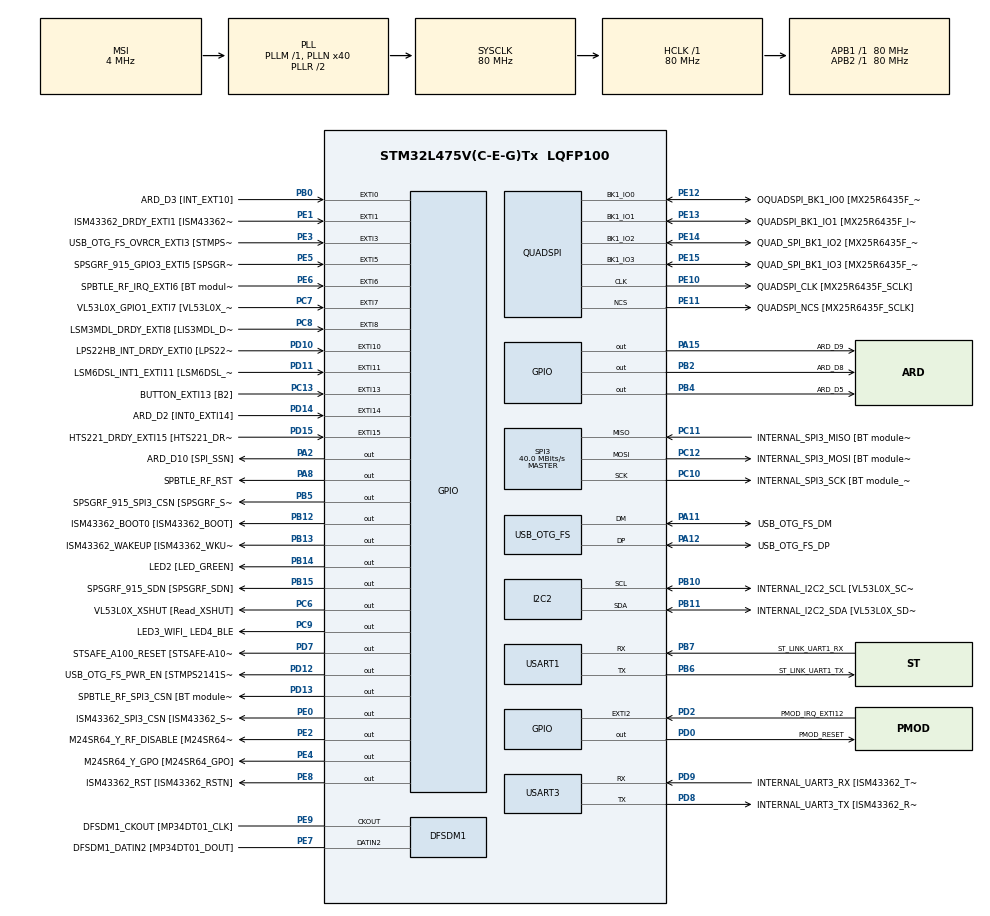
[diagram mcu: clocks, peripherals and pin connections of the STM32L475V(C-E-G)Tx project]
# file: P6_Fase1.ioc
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Mcu.Family=STM32L4
Mcu.Name=STM32L475V(C-E-G)Tx
Mcu.Package=LQFP100
NVIC.EXTI15_10_IRQn=true\:0\:0\:false\:false\:true\:true\:true
NVIC.EXTI9_5_IRQn=true\:0\:0\:false\:false\:true\:true\:true
NVIC.OTG_FS_IRQn=true\:0\:0\:false\:false\:true\:true\:true
NVIC.PriorityGroup=NVIC_PRIORITYGROUP_4
PA0.GPIO_Label=ARD_D1 [UART4_TX]
PA0.Signal=UART4_TX
PA1.GPIO_Label=ARD_D0 [UART4_RX]
PA1.Signal=UART4_RX
PA10.GPIO_Label=USB_OTG_FS_ID
PA10.Signal=USB_OTG_FS_ID
PA11.GPIO_Label=USB_OTG_FS_DM
PA11.Mode=Device_Only
PA11.Signal=USB_OTG_FS_DM
PA12.GPIO_Label=USB_OTG_FS_DP
PA12.Mode=Device_Only
PA12.Signal=USB_OTG_FS_DP
PA13\ (JTMS-SWDIO).GPIO_Label=SYS_JTMS_SWDIO
PA13\ (JTMS-SWDIO).Mode=Serial_Wire
PA13\ (JTMS-SWDIO).Signal=SYS_JTMS-SWDIO
PA14\ (JTCK-SWCLK).GPIO_Label=SYS_JTCK_SWCLK
PA14\ (JTCK-SWCLK).Mode=Serial_Wire
PA14\ (JTCK-SWCLK).Signal=SYS_JTCK-SWCLK
PA15\ (JTDI).GPIO_Label=ARD_D9
PA15\ (JTDI).Signal=GPIO_Output
PA2.GPIO_Label=ARD_D10 [SPI_SSN]
PA2.Signal=GPIO_Output
PA3.GPIO_Label=ARD_D4
PA3.Signal=S_TIM2_CH4
PA4.GPIO_Label=ARD_D7
PA4.Signal=ADCx_IN9
PA5.GPIO_Label=ARD_D13 [SPI1_SCK]
PA5.Signal=SPI1_SCK
PA6.GPIO_Label=ARD_D12 [SPI1_MISO]
PA6.Signal=SPI1_MISO
PA7.GPIO_Label=ARD_D11 [SPI1_MOSI]
PA7.Signal=SPI1_MOSI
PA8.GPIO_Label=SPBTLE_RF_RST
PA8.Signal=GPIO_Output
PA9.GPIO_Label=USB_OTG_FS_VBUS [STMPS2141STR_OUT]
PA9.Signal=USB_OTG_FS_VBUS
PB0.GPIO_Label=ARD_D3 [INT_EXT10]
PB0.Signal=GPXTI0
PB1.GPIO_Label=ARD_D6 [ADC1_IN6]
PB1.Signal=ADCx_IN16
PB10.GPIO_Label=INTERNAL_I2C2_SCL [VL53L0X_SCL]
PB10.Mode=I2C
PB10.Signal=I2C2_SCL
PB11.GPIO_Label=INTERNAL_I2C2_SDA [VL53L0X_SDA]
PB11.Mode=I2C
PB11.Signal=I2C2_SDA
PB12.GPIO_Label=ISM43362_BOOT0 [ISM43362_BOOT]
PB12.Signal=GPIO_Output
PB13.GPIO_Label=ISM43362_WAKEUP [ISM43362_WKUP]
PB13.Signal=GPIO_Output
PB14.GPIO_Label=LED2 [LED_GREEN]
PB14.Signal=GPIO_Output
PB15.GPIO_Label=SPSGRF_915_SDN [SPSGRF_SDN]
PB15.Signal=GPIO_Output
PB2.GPIO_Label=ARD_D8
PB2.Signal=GPIO_Output
PB3\ (JTDO-TRACESWO).GPIO_Label=SYS_JTD0_SWO
PB3\ (JTDO-TRACESWO).Signal=SYS_JTDO-SWO
PB4\ (NJTRST).GPIO_Label=ARD_D5
PB4\ (NJTRST).Signal=GPIO_Output
PB5.GPIO_Label=SPSGRF_915_SPI3_CSN [SPSGRF_SPI_CS]
PB5.PinState=GPIO_PIN_SET
PB5.Signal=GPIO_Output
PB6.GPIO_Label=ST_LINK_UART1_TX
PB6.Mode=Asynchronous
PB6.Signal=USART1_TX
PB7.GPIO_Label=ST_LINK_UART1_RX
PB7.Mode=Asynchronous
PB7.Signal=USART1_RX
PB8.GPIO_Label=ARD_D15 [I2C1_SCL]
PB8.Signal=I2C1_SCL
PB9.GPIO_Label=ARD_D14 [I2C1_SDA]
PB9.Signal=I2C1_SDA
PC0.GPIO_Label=ARD_A5 [ADC]
PC0.Signal=ADCx_IN1
PC1.GPIO_Label=ARD_A4 [ADC]
PC1.Signal=ADCx_IN2
PC10.GPIO_Label=INTERNAL_SPI3_SCK [BT module_SPI_SCLK] [ISM43362_SCK]
PC10.Mode=Full_Duplex_Master
PC10.Signal=SPI3_SCK
PC11.GPIO_Label=INTERNAL_SPI3_MISO [BT module_SPI_MISO] [ISM43362_MISO]
PC11.Mode=Full_Duplex_Master
PC11.Signal=SPI3_MISO
PC12.GPIO_Label=INTERNAL_SPI3_MOSI [BT module_SPI_MOSI] [ISM43362_MOSI]
PC12.Mode=Full_Duplex_Master
PC12.Signal=SPI3_MOSI
PC13.GPIO_Label=BUTTON_EXTI13 [B2]
PC13.GPIO_ModeDefaultEXTI=GPIO_MODE_IT_FALLING
PC13.Signal=GPXTI13
PC14-OSC32_IN\ (PC14).Mode=LSE-External-Oscillator
PC14-OSC32_IN\ (PC14).Signal=RCC_OSC32_IN
PC15-OSC32_OUT\ (PC15).Mode=LSE-External-Oscillator
PC15-OSC32_OUT\ (PC15).Signal=RCC_OSC32_OUT
PC2.GPIO_Label=ARD_A3 [ADC]
PC2.Signal=ADCx_IN3
PC3.GPIO_Label=ARD_A2 [ADC]
PC3.Signal=ADCx_IN4
PC4.GPIO_Label=ARD_A1 [ADC]
PC4.Signal=ADCx_IN13
PC5.GPIO_Label=ARD_A0 [ADC]
PC5.Signal=ADCx_IN14
PC6.GPIO_Label=VL53L0X_XSHUT [Read_XSHUT]
PC6.Signal=GPIO_Output
PC7.GPIO_Label=VL53L0X_GPIO1_EXTI7 [VL53L0X_GPIO1]
PC7.Signal=GPXTI7
PC8.GPIO_Label=LSM3MDL_DRDY_EXTI8 [LIS3MDL_DRDY]
PC8.Signal=GPXTI8
PC9.GPIO_Label=LED3_WIFI_ LED4_BLE
PC9.Signal=GPIO_Output
PD0.GPIO_Label=PMOD_RESET
PD0.Signal=GPIO_Output
PD1.GPIO_Label=PMOD_SPI2_SCK
PD1.Signal=SPI2_SCK
PD10.GPIO_Label=LPS22HB_INT_DRDY_EXTI0 [LPS22HB_INT_DRDY] 
PD10.Signal=GPXTI10
PD11.GPIO_Label=LSM6DSL_INT1_EXTI11 [LSM6DSL_INT1]
PD11.Signal=GPXTI11
PD12.GPIO_Label=USB_OTG_FS_PWR_EN [STMPS2141STR_EN]
PD12.Signal=GPIO_Output
PD13.GPIO_Label=SPBTLE_RF_SPI3_CSN [BT module_SPI_CS]
PD13.PinState=GPIO_PIN_SET
PD13.Signal=GPIO_Output
PD14.GPIO_Label=ARD_D2 [INT0_EXTI14]
PD14.Signal=GPXTI14
PD15.GPIO_Label=HTS221_DRDY_EXTI15 [HTS221_DRDY]
PD15.Signal=GPXTI15
PD2.GPIO_Label=PMOD_IRQ_EXTI12
PD2.Signal=GPXTI2
PD3.GPIO_Label=PMOD_UART2_CTS
PD3.Signal=USART2_CTS
PD4.GPIO_Label=PMOD_UART2_RTS
PD4.Signal=USART2_RTS
PD5.GPIO_Label=PMOD_UART2_TX
PD5.Signal=USART2_TX
PD6.GPIO_Label=PMOD_UART2_RX
PD6.Signal=USART2_RX
PD7.GPIO_Label=STSAFE_A100_RESET [STSAFE-A100_RESET]
PD7.Signal=GPIO_Output
PD8.GPIO_Label=INTERNAL_UART3_TX [ISM43362_RX]
PD8.Mode=Asynchronous
PD8.Signal=USART3_TX
PD9.GPIO_Label=INTERNAL_UART3_RX [ISM43362_TX]
PD9.Mode=Asynchronous
PD9.Signal=USART3_RX
PE0.GPIO_Label=ISM43362_SPI3_CSN [ISM43362_SSN]
PE0.PinState=GPIO_PIN_SET
PE0.Signal=GPIO_Output
PE1.GPIO_Label=ISM43362_DRDY_EXTI1 [ISM43362_DATARDY]
PE1.Signal=GPXTI1
PE10.GPIO_Label=QUADSPI_CLK [MX25R6435F_SCLK]
PE10.Mode=Single Bank
PE10.Signal=QUADSPI_CLK
PE11.GPIO_Label=QUADSPI_NCS [MX25R6435F_SCLK]
PE11.Mode=Single Bank
PE11.Signal=QUADSPI_NCS
PE12.GPIO_Label=OQUADSPI_BK1_IO0 [MX25R6435F_IO0]
PE12.Mode=Single Bank
PE12.Signal=QUADSPI_BK1_IO0
PE13.GPIO_Label=QUADSPI_BK1_IO1 [MX25R6435F_IO1]
PE13.Mode=Single Bank
PE13.Signal=QUADSPI_BK1_IO1
PE14.GPIO_Label=QUAD_SPI_BK1_IO2 [MX25R6435F_IO2]
PE14.Mode=Single Bank
PE14.Signal=QUADSPI_BK1_IO2
PE15.GPIO_Label=QUAD_SPI_BK1_IO3 [MX25R6435F_IO3]
PE15.Mode=Single Bank
PE15.Signal=QUADSPI_BK1_IO3
PE2.GPIO_Label=M24SR64_Y_RF_DISABLE [M24SR64_RFDIS]
PE2.Signal=GPIO_Output
PE3.GPIO_Label=USB_OTG_FS_OVRCR_EXTI3 [STMPS2141STR_FAULT]
PE3.Signal=GPXTI3
PE4.GPIO_Label=M24SR64_Y_GPO [M24SR64_GPO]
PE4.Signal=GPIO_Output
PE5.GPIO_Label=SPSGRF_915_GPIO3_EXTI5 [SPSGRF_GPIO_3]
PE5.Signal=GPXTI5
PE6.GPIO_Label=SPBTLE_RF_IRQ_EXTI6 [BT module_SPI_IRQ]
PE6.Signal=GPXTI6
PE7.GPIO_Label=DFSDM1_DATIN2 [MP34DT01_DOUT]
PE7.Signal=S_DATAIN2DFSDM1
PE8.GPIO_Label=ISM43362_RST [ISM43362_RSTN]
PE8.Signal=GPIO_Output
PE9.GPIO_Label=DFSDM1_CKOUT [MP34DT01_CLK]
PE9.Signal=S_CKOUTDFSDM1
ProjectManager.HeapSize=0x200
ProjectManager.StackSize=0x400
ProjectManager.TargetToolchain=STM32CubeIDE
RCC.ADCFreq_Value=48000000
RCC.AHBFreq_Value=80000000
RCC.APB1Freq_Value=80000000
RCC.APB1TimFreq_Value=80000000
RCC.APB2Freq_Value=80000000
RCC.APB2TimFreq_Value=80000000
RCC.CortexFreq_Value=80000000
RCC.HCLKFreq_Value=80000000
RCC.HSE_VALUE=8000000
RCC.HSI_VALUE=16000000
RCC.MSI_VALUE=4000000
RCC.PLLN=40
RCC.PLLSAI1N=24
RCC.SYSCLKFreq_VALUE=80000000
RCC.SYSCLKSource=RCC_SYSCLKSOURCE_PLLCLK
RCC.USBFreq_Value=48000000
RCC.VCOOutputFreq_Value=160000000
SH.ADCx_IN1.0=ADC1_IN1
SH.ADCx_IN13.0=ADC1_IN13
SH.ADCx_IN14.0=ADC1_IN14
SH.ADCx_IN16.0=ADC1_IN16
SH.ADCx_IN2.0=ADC1_IN2
SH.ADCx_IN3.0=ADC1_IN3
SH.ADCx_IN4.0=ADC1_IN4
SH.ADCx_IN9.0=ADC1_IN9
SH.S_CKOUTDFSDM1.0=DFSDM1_CKOUT,CKOUT
SH.S_CKOUTDFSDM1.1=DFSDM1_CKOUT,PDM_SPI_Input_from_ch12_and_Internal_Clock
SH.S_DATAIN2DFSDM1.0=DFSDM1_DATIN2,PDM_SPI_Input_from_ch12_and_Internal_Clock
SH.S_TIM2_CH4.0=TIM2_CH4
SPI3.CalculateBaudRate=40.0 MBits/s
SPI3.Direction=SPI_DIRECTION_2LINES
SPI3.Mode=SPI_MODE_MASTER
SPI3.VirtualType=VM_MASTER
USART1.VirtualMode-Asynchronous=VM_ASYNC
USART3.VirtualMode-Asynchronous=VM_ASYNC
USB_DEVICE.CLASS_NAME_FS=CUSTOM_HID
USB_DEVICE.USBD_CUSTOMHID_OUTREPORT_BUF_SIZE=4
USB_DEVICE.USBD_CUSTOM_HID_REPORT_DESC_SIZE=50
USB_DEVICE.VirtualMode=CustomHid
USB_DEVICE.VirtualModeFS=Custom_Hid_FS
USB_OTG_FS.VirtualMode=Device_Only
VP_USB_DEVICE_VS_USB_DEVICE_CUSTOM_HID_FS.Mode=CUSTOM_HID_FS
board=B-L475E-IOT01A1

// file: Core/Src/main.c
/* USER CODE BEGIN Header */
/**
  ******************************************************************************
  * @file           : main.c
  * @brief          : Main program body
  ******************************************************************************
  * @attention
  *
  * <h2><center>&copy; Copyright (c) 2021 STMicroelectronics.
  * All rights reserved.</center></h2>
  *
  * This software component is licensed by ST under BSD 3-Clause license,
  * the "License"; You may not use this file except in compliance with the
  * License. You may obtain a copy of the License at:
  *                        opensource.org/licenses/BSD-3-Clause
  *
  ******************************************************************************
  */
/* USER CODE END Header */

#include "main.h"
#include "usb_device.h"

/* USER CODE BEGIN Includes */
int8_t USBD_CUSTOM_HID_SendReport_FS(uint8_t *report, uint16_t len);
/* USER CODE END Includes */

DFSDM_Channel_HandleTypeDef hdfsdm1_channel1;

I2C_HandleTypeDef hi2c2;

QSPI_HandleTypeDef hqspi;

SPI_HandleTypeDef hspi3;

UART_HandleTypeDef huart1;
UART_HandleTypeDef huart3;

void SystemClock_Config(void);
static void MX_GPIO_Init(void);
static void MX_DFSDM1_Init(void);
static void MX_I2C2_Init(void);
static void MX_QUADSPI_Init(void);
static void MX_SPI3_Init(void);
static void MX_USART1_UART_Init(void);
static void MX_USART3_UART_Init(void);

int main(void)
{
  /* USER CODE BEGIN 1 */
  int i; //declaramos las variables que vamos a usar en nuestra función
  uint8_t dato[3]; // esta es la variable donde vamos a mandar el report
  /* USER CODE END 1 */

  /* MCU Configuration--------------------------------------------------------*/

  /* Reset of all peripherals, Initializes the Flash interface and the Systick. */
  HAL_Init();

  /* Configure the system clock */
  SystemClock_Config();

  /* Initialize all configured peripherals */
  MX_GPIO_Init();
  MX_DFSDM1_Init();
  MX_I2C2_Init();
  MX_QUADSPI_Init();
  MX_SPI3_Init();
  MX_USART1_UART_Init();
  MX_USART3_UART_Init();
  MX_USB_DEVICE_Init();
  /* USER CODE BEGIN 2 */
  HAL_Delay(5000); //retraso para esperar a que el USB se configure
  dato[0]=0; //estos son los tres botones, ninguno pulsado
  /* USER CODE END 2 */

  /* Infinite loop */
  /* USER CODE BEGIN WHILE */
  while (1)
  {
	  //Fase 1 (movimiento del mouse)
	  for (i=0;i<50;i++){
		  dato[1]=4; //cada 100ms desplazamos el ratón 4 posiciones
	  	  dato[2]=4;
	  	  USBD_CUSTOM_HID_SendReport_FS(dato,3);
	  	  HAL_Delay(100);
	  }
	  for (i=0;i<50;i++){
	  	  dato[1]=-4;
	  	  dato[2]=-4;
	  	  USBD_CUSTOM_HID_SendReport_FS(dato,3);
	  	  HAL_Delay(100);
	  }

    /* USER CODE END WHILE */

  }
}

void SystemClock_Config(void)
{
  RCC_OscInitTypeDef RCC_OscInitStruct = {0};
  RCC_ClkInitTypeDef RCC_ClkInitStruct = {0};
  RCC_PeriphCLKInitTypeDef PeriphClkInit = {0};

  /** Configure LSE Drive Capability
  */
  HAL_PWR_EnableBkUpAccess();
  __HAL_RCC_LSEDRIVE_CONFIG(RCC_LSEDRIVE_LOW);
  /** Initializes the CPU, AHB and APB busses clocks
  */
  RCC_OscInitStruct.OscillatorType = RCC_OSCILLATORTYPE_LSE|RCC_OSCILLATORTYPE_MSI;
  RCC_OscInitStruct.LSEState = RCC_LSE_ON;
  RCC_OscInitStruct.MSIState = RCC_MSI_ON;
  RCC_OscInitStruct.MSICalibrationValue = 0;
  RCC_OscInitStruct.MSIClockRange = RCC_MSIRANGE_6;
  RCC_OscInitStruct.PLL.PLLState = RCC_PLL_ON;
  RCC_OscInitStruct.PLL.PLLSource = RCC_PLLSOURCE_MSI;
  RCC_OscInitStruct.PLL.PLLM = 1;
  RCC_OscInitStruct.PLL.PLLN = 40;
  RCC_OscInitStruct.PLL.PLLP = RCC_PLLP_DIV7;
  RCC_OscInitStruct.PLL.PLLQ = RCC_PLLQ_DIV2;
  RCC_OscInitStruct.PLL.PLLR = RCC_PLLR_DIV2;
  if (HAL_RCC_OscConfig(&RCC_OscInitStruct) != HAL_OK)
  {
    Error_Handler();
  }
  /** Initializes the CPU, AHB and APB busses clocks
  */
  RCC_ClkInitStruct.ClockType = RCC_CLOCKTYPE_HCLK|RCC_CLOCKTYPE_SYSCLK
                              |RCC_CLOCKTYPE_PCLK1|RCC_CLOCKTYPE_PCLK2;
  RCC_ClkInitStruct.SYSCLKSource = RCC_SYSCLKSOURCE_PLLCLK;
  RCC_ClkInitStruct.AHBCLKDivider = RCC_SYSCLK_DIV1;
  RCC_ClkInitStruct.APB1CLKDivider = RCC_HCLK_DIV1;
  RCC_ClkInitStruct.APB2CLKDivider = RCC_HCLK_DIV1;

  if (HAL_RCC_ClockConfig(&RCC_ClkInitStruct, FLASH_LATENCY_4) != HAL_OK)
  {
    Error_Handler();
  }
  PeriphClkInit.PeriphClockSelection = RCC_PERIPHCLK_USART1|RCC_PERIPHCLK_USART3
                              |RCC_PERIPHCLK_I2C2|RCC_PERIPHCLK_DFSDM1
                              |RCC_PERIPHCLK_USB;
  PeriphClkInit.Usart1ClockSelection = RCC_USART1CLKSOURCE_PCLK2;
  PeriphClkInit.Usart3ClockSelection = RCC_USART3CLKSOURCE_PCLK1;
  PeriphClkInit.I2c2ClockSelection = RCC_I2C2CLKSOURCE_PCLK1;
  PeriphClkInit.Dfsdm1ClockSelection = RCC_DFSDM1CLKSOURCE_PCLK;
  PeriphClkInit.UsbClockSelection = RCC_USBCLKSOURCE_PLLSAI1;
  PeriphClkInit.PLLSAI1.PLLSAI1Source = RCC_PLLSOURCE_MSI;
  PeriphClkInit.PLLSAI1.PLLSAI1M = 1;
  PeriphClkInit.PLLSAI1.PLLSAI1N = 24;
  PeriphClkInit.PLLSAI1.PLLSAI1P = RCC_PLLP_DIV7;
  PeriphClkInit.PLLSAI1.PLLSAI1Q = RCC_PLLQ_DIV2;
  PeriphClkInit.PLLSAI1.PLLSAI1R = RCC_PLLR_DIV2;
  PeriphClkInit.PLLSAI1.PLLSAI1ClockOut = RCC_PLLSAI1_48M2CLK;
  if (HAL_RCCEx_PeriphCLKConfig(&PeriphClkInit) != HAL_OK)
  {
    Error_Handler();
  }
  /** Configure the main internal regulator output voltage
  */
  if (HAL_PWREx_ControlVoltageScaling(PWR_REGULATOR_VOLTAGE_SCALE1) != HAL_OK)
  {
    Error_Handler();
  }
  /** Enable MSI Auto calibration
  */
  HAL_RCCEx_EnableMSIPLLMode();
}

static void MX_DFSDM1_Init(void)
{

  hdfsdm1_channel1.Instance = DFSDM1_Channel1;
  hdfsdm1_channel1.Init.OutputClock.Activation = ENABLE;
  hdfsdm1_channel1.Init.OutputClock.Selection = DFSDM_CHANNEL_OUTPUT_CLOCK_SYSTEM;
  hdfsdm1_channel1.Init.OutputClock.Divider = 2;
  hdfsdm1_channel1.Init.Input.Multiplexer = DFSDM_CHANNEL_EXTERNAL_INPUTS;
  hdfsdm1_channel1.Init.Input.DataPacking = DFSDM_CHANNEL_STANDARD_MODE;
  hdfsdm1_channel1.Init.Input.Pins = DFSDM_CHANNEL_FOLLOWING_CHANNEL_PINS;
  hdfsdm1_channel1.Init.SerialInterface.Type = DFSDM_CHANNEL_SPI_RISING;
  hdfsdm1_channel1.Init.SerialInterface.SpiClock = DFSDM_CHANNEL_SPI_CLOCK_INTERNAL;
  hdfsdm1_channel1.Init.Awd.FilterOrder = DFSDM_CHANNEL_FASTSINC_ORDER;
  hdfsdm1_channel1.Init.Awd.Oversampling = 1;
  hdfsdm1_channel1.Init.Offset = 0;
  hdfsdm1_channel1.Init.RightBitShift = 0x00;
  if (HAL_DFSDM_ChannelInit(&hdfsdm1_channel1) != HAL_OK)
  {
    Error_Handler();
  }

}

static void MX_I2C2_Init(void)
{

  hi2c2.Instance = I2C2;
  hi2c2.Init.Timing = 0x00000E14;
  hi2c2.Init.OwnAddress1 = 0;
  hi2c2.Init.AddressingMode = I2C_ADDRESSINGMODE_7BIT;
  hi2c2.Init.DualAddressMode = I2C_DUALADDRESS_DISABLE;
  hi2c2.Init.OwnAddress2 = 0;
  hi2c2.Init.OwnAddress2Masks = I2C_OA2_NOMASK;
  hi2c2.Init.GeneralCallMode = I2C_GENERALCALL_DISABLE;
  hi2c2.Init.NoStretchMode = I2C_NOSTRETCH_DISABLE;
  if (HAL_I2C_Init(&hi2c2) != HAL_OK)
  {
    Error_Handler();
  }
  /** Configure Analogue filter
  */
  if (HAL_I2CEx_ConfigAnalogFilter(&hi2c2, I2C_ANALOGFILTER_ENABLE) != HAL_OK)
  {
    Error_Handler();
  }
  /** Configure Digital filter
  */
  if (HAL_I2CEx_ConfigDigitalFilter(&hi2c2, 0) != HAL_OK)
  {
    Error_Handler();
  }

}

static void MX_QUADSPI_Init(void)
{

  /* QUADSPI parameter configuration*/
  hqspi.Instance = QUADSPI;
  hqspi.Init.ClockPrescaler = 255;
  hqspi.Init.FifoThreshold = 1;
  hqspi.Init.SampleShifting = QSPI_SAMPLE_SHIFTING_NONE;
  hqspi.Init.FlashSize = 1;
  hqspi.Init.ChipSelectHighTime = QSPI_CS_HIGH_TIME_1_CYCLE;
  hqspi.Init.ClockMode = QSPI_CLOCK_MODE_0;
  if (HAL_QSPI_Init(&hqspi) != HAL_OK)
  {
    Error_Handler();
  }

}

static void MX_SPI3_Init(void)
{

  /* SPI3 parameter configuration*/
  hspi3.Instance = SPI3;
  hspi3.Init.Mode = SPI_MODE_MASTER;
  hspi3.Init.Direction = SPI_DIRECTION_2LINES;
  hspi3.Init.DataSize = SPI_DATASIZE_4BIT;
  hspi3.Init.CLKPolarity = SPI_POLARITY_LOW;
  hspi3.Init.CLKPhase = SPI_PHASE_1EDGE;
  hspi3.Init.NSS = SPI_NSS_SOFT;
  hspi3.Init.BaudRatePrescaler = SPI_BAUDRATEPRESCALER_2;
  hspi3.Init.FirstBit = SPI_FIRSTBIT_MSB;
  hspi3.Init.TIMode = SPI_TIMODE_DISABLE;
  hspi3.Init.CRCCalculation = SPI_CRCCALCULATION_DISABLE;
  hspi3.Init.CRCPolynomial = 7;
  hspi3.Init.CRCLength = SPI_CRC_LENGTH_DATASIZE;
  hspi3.Init.NSSPMode = SPI_NSS_PULSE_ENABLE;
  if (HAL_SPI_Init(&hspi3) != HAL_OK)
  {
    Error_Handler();
  }

}

static void MX_USART1_UART_Init(void)
{

  huart1.Instance = USART1;
  huart1.Init.BaudRate = 115200;
  huart1.Init.WordLength = UART_WORDLENGTH_8B;
  huart1.Init.StopBits = UART_STOPBITS_1;
  huart1.Init.Parity = UART_PARITY_NONE;
  huart1.Init.Mode = UART_MODE_TX_RX;
  huart1.Init.HwFlowCtl = UART_HWCONTROL_NONE;
  huart1.Init.OverSampling = UART_OVERSAMPLING_16;
  huart1.Init.OneBitSampling = UART_ONE_BIT_SAMPLE_DISABLE;
  huart1.AdvancedInit.AdvFeatureInit = UART_ADVFEATURE_NO_INIT;
  if (HAL_UART_Init(&huart1) != HAL_OK)
  {
    Error_Handler();
  }

}

static void MX_USART3_UART_Init(void)
{

  huart3.Instance = USART3;
  huart3.Init.BaudRate = 115200;
  huart3.Init.WordLength = UART_WORDLENGTH_8B;
  huart3.Init.StopBits = UART_STOPBITS_1;
  huart3.Init.Parity = UART_PARITY_NONE;
  huart3.Init.Mode = UART_MODE_TX_RX;
  huart3.Init.HwFlowCtl = UART_HWCONTROL_NONE;
  huart3.Init.OverSampling = UART_OVERSAMPLING_16;
  huart3.Init.OneBitSampling = UART_ONE_BIT_SAMPLE_DISABLE;
  huart3.AdvancedInit.AdvFeatureInit = UART_ADVFEATURE_NO_INIT;
  if (HAL_UART_Init(&huart3) != HAL_OK)
  {
    Error_Handler();
  }

}

static void MX_GPIO_Init(void)
{
  GPIO_InitTypeDef GPIO_InitStruct = {0};

  /* GPIO Ports Clock Enable */
  __HAL_RCC_GPIOE_CLK_ENABLE();
  __HAL_RCC_GPIOC_CLK_ENABLE();
  __HAL_RCC_GPIOA_CLK_ENABLE();
  __HAL_RCC_GPIOB_CLK_ENABLE();
  __HAL_RCC_GPIOD_CLK_ENABLE();

  /*Configure GPIO pin Output Level */
  HAL_GPIO_WritePin(GPIOE, M24SR64_Y_RF_DISABLE_Pin|M24SR64_Y_GPO_Pin|ISM43362_RST_Pin, GPIO_PIN_RESET);

  /*Configure GPIO pin Output Level */
  HAL_GPIO_WritePin(GPIOA, ARD_D10_Pin|SPBTLE_RF_RST_Pin|ARD_D9_Pin, GPIO_PIN_RESET);

  /*Configure GPIO pin Output Level */
  HAL_GPIO_WritePin(GPIOB, ARD_D8_Pin|ISM43362_BOOT0_Pin|ISM43362_WAKEUP_Pin|LED2_Pin
                          |SPSGRF_915_SDN_Pin|ARD_D5_Pin, GPIO_PIN_RESET);

  /*Configure GPIO pin Output Level */
  HAL_GPIO_WritePin(GPIOD, USB_OTG_FS_PWR_EN_Pin|PMOD_RESET_Pin|STSAFE_A100_RESET_Pin, GPIO_PIN_RESET);

  /*Configure GPIO pin Output Level */
  HAL_GPIO_WritePin(SPBTLE_RF_SPI3_CSN_GPIO_Port, SPBTLE_RF_SPI3_CSN_Pin, GPIO_PIN_SET);

  /*Configure GPIO pin Output Level */
  HAL_GPIO_WritePin(GPIOC, VL53L0X_XSHUT_Pin|LED3_WIFI__LED4_BLE_Pin, GPIO_PIN_RESET);

  /*Configure GPIO pin Output Level */
  HAL_GPIO_WritePin(SPSGRF_915_SPI3_CSN_GPIO_Port, SPSGRF_915_SPI3_CSN_Pin, GPIO_PIN_SET);

  /*Configure GPIO pin Output Level */
  HAL_GPIO_WritePin(ISM43362_SPI3_CSN_GPIO_Port, ISM43362_SPI3_CSN_Pin, GPIO_PIN_SET);

  /*Configure GPIO pins : M24SR64_Y_RF_DISABLE_Pin M24SR64_Y_GPO_Pin ISM43362_RST_Pin ISM43362_SPI3_CSN_Pin */
  GPIO_InitStruct.Pin = M24SR64_Y_RF_DISABLE_Pin|M24SR64_Y_GPO_Pin|ISM43362_RST_Pin|ISM43362_SPI3_CSN_Pin;
  GPIO_InitStruct.Mode = GPIO_MODE_OUTPUT_PP;
  GPIO_InitStruct.Pull = GPIO_NOPULL;
  GPIO_InitStruct.Speed = GPIO_SPEED_FREQ_LOW;
  HAL_GPIO_Init(GPIOE, &GPIO_InitStruct);

  /*Configure GPIO pins : USB_OTG_FS_OVRCR_EXTI3_Pin SPSGRF_915_GPIO3_EXTI5_Pin SPBTLE_RF_IRQ_EXTI6_Pin ISM43362_DRDY_EXTI1_Pin */
  GPIO_InitStruct.Pin = USB_OTG_FS_OVRCR_EXTI3_Pin|SPSGRF_915_GPIO3_EXTI5_Pin|SPBTLE_RF_IRQ_EXTI6_Pin|ISM43362_DRDY_EXTI1_Pin;
  GPIO_InitStruct.Mode = GPIO_MODE_IT_RISING;
  GPIO_InitStruct.Pull = GPIO_NOPULL;
  HAL_GPIO_Init(GPIOE, &GPIO_InitStruct);

  /*Configure GPIO pin : BUTTON_EXTI13_Pin */
  GPIO_InitStruct.Pin = BUTTON_EXTI13_Pin;
  GPIO_InitStruct.Mode = GPIO_MODE_IT_FALLING;
  GPIO_InitStruct.Pull = GPIO_NOPULL;
  HAL_GPIO_Init(BUTTON_EXTI13_GPIO_Port, &GPIO_InitStruct);

  /*Configure GPIO pins : ARD_A5_Pin ARD_A4_Pin ARD_A3_Pin ARD_A2_Pin
                           ARD_A1_Pin ARD_A0_Pin */
  GPIO_InitStruct.Pin = ARD_A5_Pin|ARD_A4_Pin|ARD_A3_Pin|ARD_A2_Pin
                          |ARD_A1_Pin|ARD_A0_Pin;
  GPIO_InitStruct.Mode = GPIO_MODE_ANALOG_ADC_CONTROL;
  GPIO_InitStruct.Pull = GPIO_NOPULL;
  HAL_GPIO_Init(GPIOC, &GPIO_InitStruct);

  /*Configure GPIO pins : ARD_D1_Pin ARD_D0_Pin */
  GPIO_InitStruct.Pin = ARD_D1_Pin|ARD_D0_Pin;
  GPIO_InitStruct.Mode = GPIO_MODE_AF_PP;
  GPIO_InitStruct.Pull = GPIO_NOPULL;
  GPIO_InitStruct.Speed = GPIO_SPEED_FREQ_VERY_HIGH;
  GPIO_InitStruct.Alternate = GPIO_AF8_UART4;
  HAL_GPIO_Init(GPIOA, &GPIO_InitStruct);

  /*Configure GPIO pins : ARD_D10_Pin SPBTLE_RF_RST_Pin ARD_D9_Pin */
  GPIO_InitStruct.Pin = ARD_D10_Pin|SPBTLE_RF_RST_Pin|ARD_D9_Pin;
  GPIO_InitStruct.Mode = GPIO_MODE_OUTPUT_PP;
  GPIO_InitStruct.Pull = GPIO_NOPULL;
  GPIO_InitStruct.Speed = GPIO_SPEED_FREQ_LOW;
  HAL_GPIO_Init(GPIOA, &GPIO_InitStruct);

  /*Configure GPIO pin : ARD_D4_Pin */
  GPIO_InitStruct.Pin = ARD_D4_Pin;
  GPIO_InitStruct.Mode = GPIO_MODE_AF_PP;
  GPIO_InitStruct.Pull = GPIO_NOPULL;
  GPIO_InitStruct.Speed = GPIO_SPEED_FREQ_LOW;
  GPIO_InitStruct.Alternate = GPIO_AF1_TIM2;
  HAL_GPIO_Init(ARD_D4_GPIO_Port, &GPIO_InitStruct);

  /*Configure GPIO pin : ARD_D7_Pin */
  GPIO_InitStruct.Pin = ARD_D7_Pin;
  GPIO_InitStruct.Mode = GPIO_MODE_ANALOG_ADC_CONTROL;
  GPIO_InitStruct.Pull = GPIO_NOPULL;
  HAL_GPIO_Init(ARD_D7_GPIO_Port, &GPIO_InitStruct);

  /*Configure GPIO pins : ARD_D13_Pin ARD_D12_Pin ARD_D11_Pin */
  GPIO_InitStruct.Pin = ARD_D13_Pin|ARD_D12_Pin|ARD_D11_Pin;
  GPIO_InitStruct.Mode = GPIO_MODE_AF_PP;
  GPIO_InitStruct.Pull = GPIO_NOPULL;
  GPIO_InitStruct.Speed = GPIO_SPEED_FREQ_VERY_HIGH;
  GPIO_InitStruct.Alternate = GPIO_AF5_SPI1;
  HAL_GPIO_Init(GPIOA, &GPIO_InitStruct);

  /*Configure GPIO pin : ARD_D3_Pin */
  GPIO_InitStruct.Pin = ARD_D3_Pin;
  GPIO_InitStruct.Mode = GPIO_MODE_IT_RISING;
  GPIO_InitStruct.Pull = GPIO_NOPULL;
  HAL_GPIO_Init(ARD_D3_GPIO_Port, &GPIO_InitStruct);

  /*Configure GPIO pin : ARD_D6_Pin */
  GPIO_InitStruct.Pin = ARD_D6_Pin;
  GPIO_InitStruct.Mode = GPIO_MODE_ANALOG_ADC_CONTROL;
  GPIO_InitStruct.Pull = GPIO_NOPULL;
  HAL_GPIO_Init(ARD_D6_GPIO_Port, &GPIO_InitStruct);

  /*Configure GPIO pins : ARD_D8_Pin ISM43362_BOOT0_Pin ISM43362_WAKEUP_Pin LED2_Pin
                           SPSGRF_915_SDN_Pin ARD_D5_Pin SPSGRF_915_SPI3_CSN_Pin */
  GPIO_InitStruct.Pin = ARD_D8_Pin|ISM43362_BOOT0_Pin|ISM43362_WAKEUP_Pin|LED2_Pin
                          |SPSGRF_915_SDN_Pin|ARD_D5_Pin|SPSGRF_915_SPI3_CSN_Pin;
  GPIO_InitStruct.Mode = GPIO_MODE_OUTPUT_PP;
  GPIO_InitStruct.Pull = GPIO_NOPULL;
  GPIO_InitStruct.Speed = GPIO_SPEED_FREQ_LOW;
  HAL_GPIO_Init(GPIOB, &GPIO_InitStruct);

  /*Configure GPIO pins : LPS22HB_INT_DRDY_EXTI0_Pin LSM6DSL_INT1_EXTI11_Pin ARD_D2_Pin HTS221_DRDY_EXTI15_Pin
                           PMOD_IRQ_EXTI12_Pin */
  GPIO_InitStruct.Pin = LPS22HB_INT_DRDY_EXTI0_Pin|LSM6DSL_INT1_EXTI11_Pin|ARD_D2_Pin|HTS221_DRDY_EXTI15_Pin
                          |PMOD_IRQ_EXTI12_Pin;
  GPIO_InitStruct.Mode = GPIO_MODE_IT_RISING;
  GPIO_InitStruct.Pull = GPIO_NOPULL;
  HAL_GPIO_Init(GPIOD, &GPIO_InitStruct);

  /*Configure GPIO pins : USB_OTG_FS_PWR_EN_Pin SPBTLE_RF_SPI3_CSN_Pin PMOD_RESET_Pin STSAFE_A100_RESET_Pin */
  GPIO_InitStruct.Pin = USB_OTG_FS_PWR_EN_Pin|SPBTLE_RF_SPI3_CSN_Pin|PMOD_RESET_Pin|STSAFE_A100_RESET_Pin;
  GPIO_InitStruct.Mode = GPIO_MODE_OUTPUT_PP;
  GPIO_InitStruct.Pull = GPIO_NOPULL;
  GPIO_InitStruct.Speed = GPIO_SPEED_FREQ_LOW;
  HAL_GPIO_Init(GPIOD, &GPIO_InitStruct);

  /*Configure GPIO pins : VL53L0X_XSHUT_Pin LED3_WIFI__LED4_BLE_Pin */
  GPIO_InitStruct.Pin = VL53L0X_XSHUT_Pin|LED3_WIFI__LED4_BLE_Pin;
  GPIO_InitStruct.Mode = GPIO_MODE_OUTPUT_PP;
  GPIO_InitStruct.Pull = GPIO_NOPULL;
  GPIO_InitStruct.Speed = GPIO_SPEED_FREQ_LOW;
  HAL_GPIO_Init(GPIOC, &GPIO_InitStruct);

  /*Configure GPIO pins : VL53L0X_GPIO1_EXTI7_Pin LSM3MDL_DRDY_EXTI8_Pin */
  GPIO_InitStruct.Pin = VL53L0X_GPIO1_EXTI7_Pin|LSM3MDL_DRDY_EXTI8_Pin;
  GPIO_InitStruct.Mode = GPIO_MODE_IT_RISING;
  GPIO_InitStruct.Pull = GPIO_NOPULL;
  HAL_GPIO_Init(GPIOC, &GPIO_InitStruct);

  /*Configure GPIO pin : PMOD_SPI2_SCK_Pin */
  GPIO_InitStruct.Pin = PMOD_SPI2_SCK_Pin;
  GPIO_InitStruct.Mode = GPIO_MODE_AF_PP;
  GPIO_InitStruct.Pull = GPIO_NOPULL;
  GPIO_InitStruct.Speed = GPIO_SPEED_FREQ_VERY_HIGH;
  GPIO_InitStruct.Alternate = GPIO_AF5_SPI2;
  HAL_GPIO_Init(PMOD_SPI2_SCK_GPIO_Port, &GPIO_InitStruct);

  /*Configure GPIO pins : PMOD_UART2_CTS_Pin PMOD_UART2_RTS_Pin PMOD_UART2_TX_Pin PMOD_UART2_RX_Pin */
  GPIO_InitStruct.Pin = PMOD_UART2_CTS_Pin|PMOD_UART2_RTS_Pin|PMOD_UART2_TX_Pin|PMOD_UART2_RX_Pin;
  GPIO_InitStruct.Mode = GPIO_MODE_AF_PP;
  GPIO_InitStruct.Pull = GPIO_NOPULL;
  GPIO_InitStruct.Speed = GPIO_SPEED_FREQ_VERY_HIGH;
  GPIO_InitStruct.Alternate = GPIO_AF7_USART2;
  HAL_GPIO_Init(GPIOD, &GPIO_InitStruct);

  /*Configure GPIO pins : ARD_D15_Pin ARD_D14_Pin */
  GPIO_InitStruct.Pin = ARD_D15_Pin|ARD_D14_Pin;
  GPIO_InitStruct.Mode = GPIO_MODE_AF_OD;
  GPIO_InitStruct.Pull = GPIO_PULLUP;
  GPIO_InitStruct.Speed = GPIO_SPEED_FREQ_VERY_HIGH;
  GPIO_InitStruct.Alternate = GPIO_AF4_I2C1;
  HAL_GPIO_Init(GPIOB, &GPIO_InitStruct);

  /* EXTI interrupt init*/
  HAL_NVIC_SetPriority(EXTI9_5_IRQn, 0, 0);
  HAL_NVIC_EnableIRQ(EXTI9_5_IRQn);

  HAL_NVIC_SetPriority(EXTI15_10_IRQn, 0, 0);
  HAL_NVIC_EnableIRQ(EXTI15_10_IRQn);

}

void Error_Handler(void)
{
}

/************************ (C) COPYRIGHT STMicroelectronics *****END OF FILE****/
